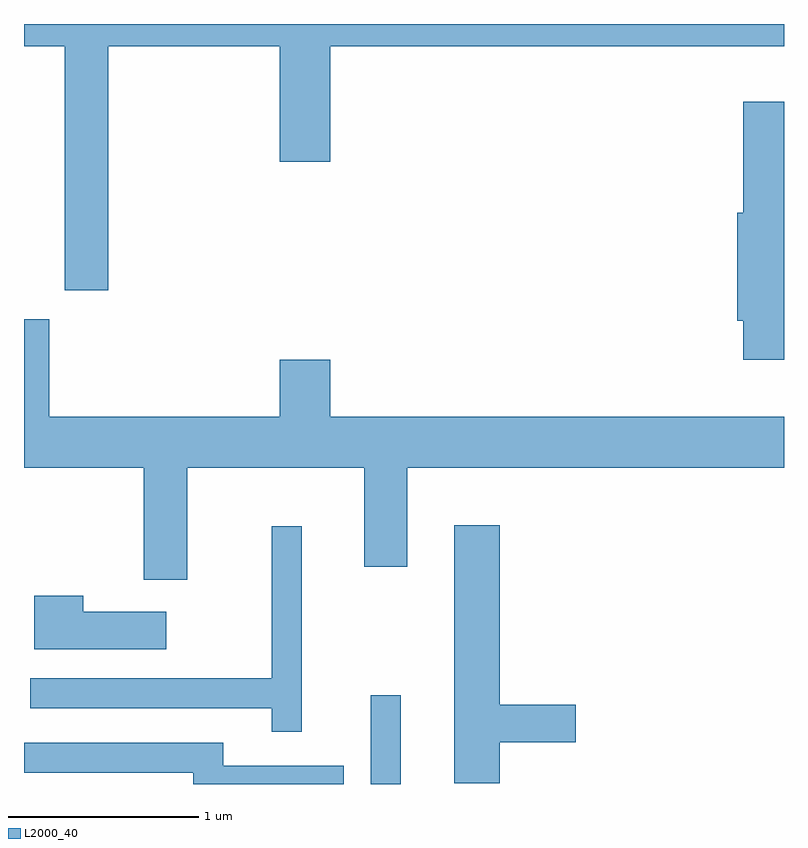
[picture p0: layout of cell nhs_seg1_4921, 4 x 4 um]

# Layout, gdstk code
import gdstk
lib = gdstk.Library(unit=1e-6, precision=1e-09)
def R(c, l, rs):  # rectangles x0, y0, x1, y1
    for r in rs: c.add(gdstk.rectangle(r[:2], r[2:], *l))
def P(c, l, *ps):  # polygons
    for p in ps: c.add(gdstk.Polygon(p, *l))
L2000_40 = (2000, 40)

nhs_seg1_4921 = lib.new_cell('nhs_seg1_4921')
R(nhs_seg1_4921, L2000_40, [(335.436,875.712,335.594,876.178)])
P(nhs_seg1_4921, L2000_40, [(334.054,879.596),(334.956,879.596),(334.956,878.986),(335.224,878.986),(335.224,879.596),(337.611,879.596),(337.611,879.712),(333.611,879.712),(333.611,879.596),(333.826,879.596),(333.826,878.311),(334.054,878.311)],
  [(337.611,879.304),(337.396,879.304),(337.396,878.719),(337.366,878.719),(337.366,878.151),(337.396,878.151),(337.396,877.946),(337.611,877.946)],
  [(333.611,878.159),(333.611,877.376),(334.241,877.376),(334.241,876.786),(334.469,876.786),(334.469,877.376),(335.401,877.376),(335.401,876.856),(335.629,876.856),(335.629,877.376),(337.611,877.376),(337.611,877.644),(335.224,877.644),(335.224,877.944),(334.956,877.944),(334.956,877.644),(333.744,877.644),(333.744,878.159)],
  [(336.114,875.931),(336.514,875.931),(336.514,876.129),(336.114,876.129),(336.114,877.074),(335.876,877.074),(335.876,875.716),(336.114,875.716)],
  [(335.074,877.068),(334.916,877.068),(334.916,876.269),(333.643,876.269),(333.643,876.111),(334.916,876.111),(334.916,875.988),(335.074,875.988)],
  [(334.359,876.619),(333.924,876.619),(333.924,876.704),(333.666,876.704),(333.666,876.421),(334.359,876.421)],
  [(335.293,875.809),(334.659,875.809),(334.659,875.929),(333.611,875.929),(333.611,875.771),(334.501,875.771),(334.501,875.712),(335.293,875.712)])

lib.write_gds('nhs_seg1_4921.gds')
